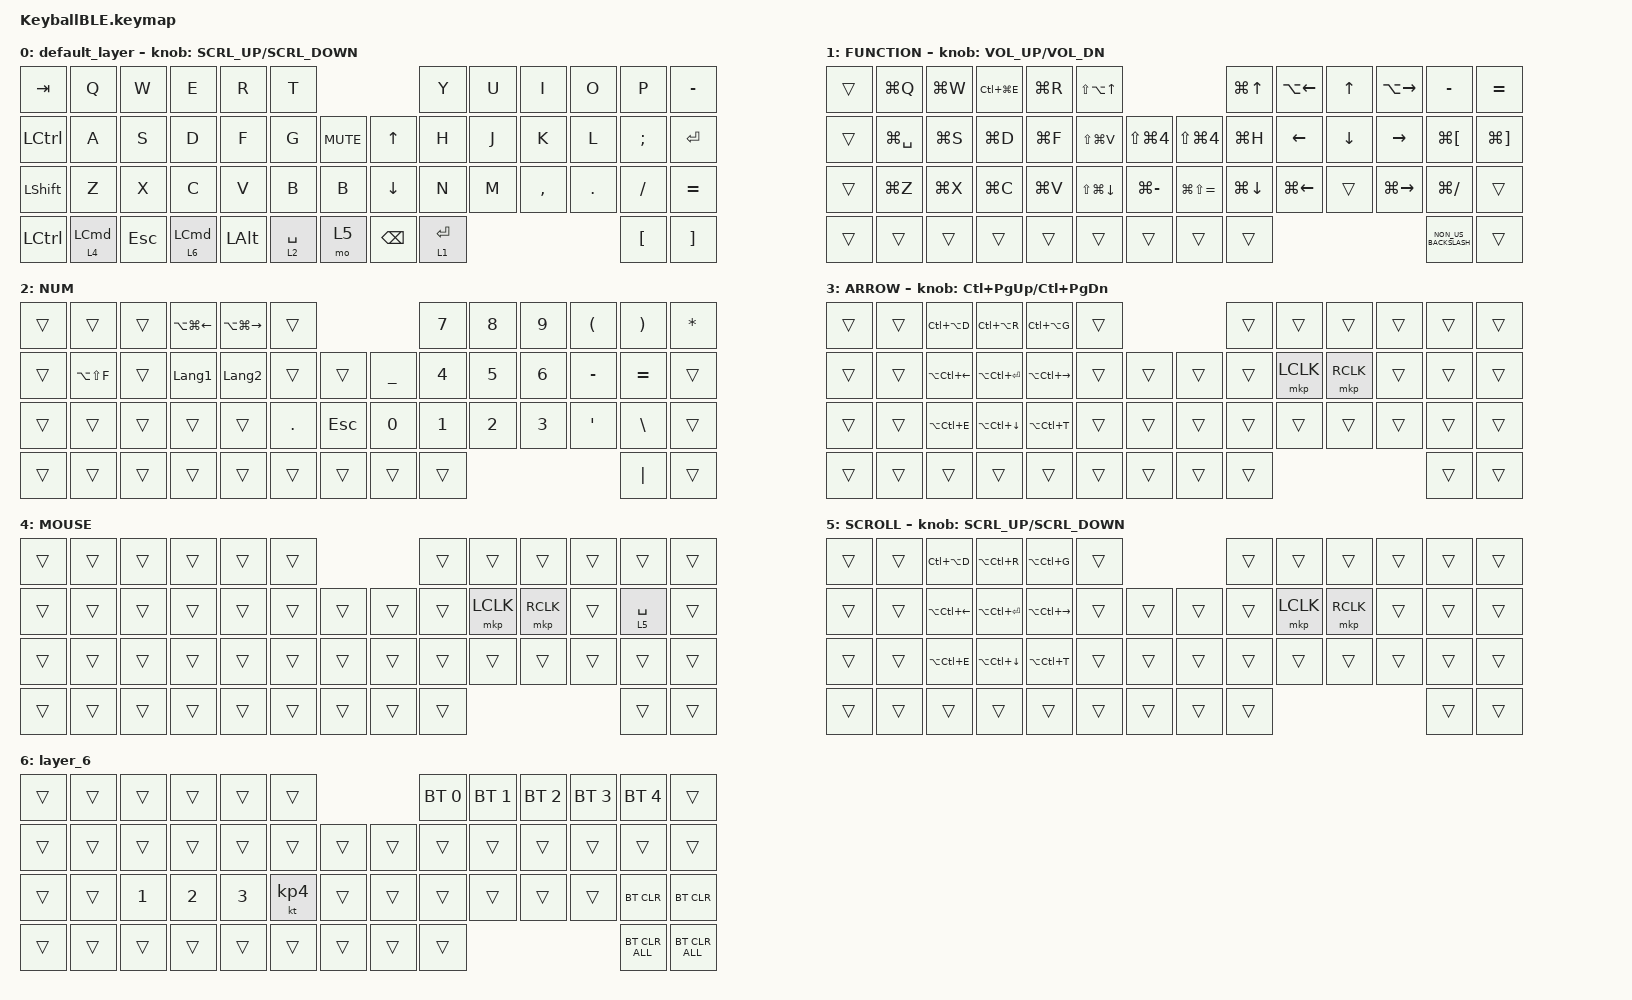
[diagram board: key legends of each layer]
#define ZMK_POINTING_DEFAULT_SCRL_VAL 120    // default: 10

#include <behaviors.dtsi>
#include <dt-bindings/zmk/bt.h>
#include <dt-bindings/zmk/keys.h>
#include <dt-bindings/zmk/pointing.h>

#define MOUSE 4
#define SCROLL 5
#define NUM 6

&mt {
    flavor = "balanced";
    quick-tap-ms = <0>;
};

/ {
    combos {
        compatible = "zmk,combos";

        double_quotation {
            bindings = <&kp DOUBLE_QUOTES>;
            key-positions = <20 21>;
        };
    };

    macros {
        to_layer_0: to_layer_0 {
            compatible = "zmk,behavior-macro-one-param";
            #binding-cells = <1>;
            bindings = <&to 0 &macro_param_1to1 &kp MACRO_PLACEHOLDER>;
            label = "TO_LAYER_0";
        };
    };

    behaviors {
        lt_to_layer_0: lt_to_layer_0 {
            compatible = "zmk,behavior-hold-tap";
            label = "LAYER_TAP_TO_0";
            bindings = <&mo>, <&to_layer_0>;

            #binding-cells = <2>;
            tapping-term-ms = <200>;
        };

        ROTATE: ROTATE {
            compatible = "zmk,behavior-sensor-rotate-var";
            label = "ROTATE";
            #sensor-binding-cells = <2>;
            bindings = <&msc>, <&msc>;

            tap-ms = <20>;
        };
    };

    keymap {
        compatible = "zmk,keymap";

        default_layer {
            bindings = <
&kp TAB           &kp Q               &kp W       &kp E               &kp R         &kp T                                      &kp Y        &kp U  &kp I      &kp O    &kp P             &kp MINUS
&kp LEFT_CONTROL  &kp A               &kp S       &kp D               &kp F         &kp G        &kp C_MUTE    &kp UP_ARROW    &kp H        &kp J  &kp K      &kp L    &kp SEMICOLON     &kp ENTER
&kp LSHFT         &kp Z               &kp X       &kp C               &kp V         &kp B        &kp B         &kp DOWN_ARROW  &kp N        &kp M  &kp COMMA  &kp DOT  &kp FSLH          &kp EQUAL
&kp LCTRL         &lt 4 LEFT_COMMAND  &kp ESCAPE  &lt 6 LEFT_COMMAND  &kp LEFT_ALT  &lt 2 SPACE  &mo 5         &kp BACKSPACE   &lt 1 ENTER                             &kp LEFT_BRACKET  &kp RIGHT_BRACKET
            >;

            sensor-bindings = <&ROTATE SCRL_UP SCRL_DOWN>;
        };

        FUNCTION {
            bindings = <
&trans  &kp LG(Q)      &kp LG(W)  &kp LC(LG(E))  &kp LG(R)  &kp LS(LA(UP_ARROW))                                                  &kp LG(UP_ARROW)    &kp LA(LEFT_ARROW)  &kp UP_ARROW    &kp LA(RIGHT_ARROW)  &kp MINUS             &kp EQUAL
&trans  &kp LG(SPACE)  &kp LG(S)  &kp LG(D)      &kp LG(F)  &kp LS(LG(V))           &kp LS(LG(NUMBER_4))    &kp LS(LG(NUMBER_4))  &kp LG(H)           &kp LEFT_ARROW      &kp DOWN_ARROW  &kp RIGHT_ARROW      &kp LG(LEFT_BRACKET)  &kp LG(RIGHT_BRACKET)
&trans  &kp LG(Z)      &kp LG(X)  &kp LG(C)      &kp LG(V)  &kp LS(LG(DOWN_ARROW))  &kp LG(MINUS)           &kp LG(LS(EQUAL))     &kp LG(DOWN_ARROW)  &kp LG(LEFT_ARROW)  &trans          &kp LG(RIGHT_ARROW)  &kp LG(SLASH)         &trans
&trans  &trans         &trans     &trans         &trans     &trans                  &trans                  &trans                &trans                                                                       &kp NON_US_BACKSLASH  &trans
            >;

            sensor-bindings = <&inc_dec_kp C_VOLUME_UP C_VOL_DN>;
        };

        NUM {
            bindings = <
&trans  &trans         &trans  &kp LA(LG(LEFT_ARROW))  &kp LA(LG(RIGHT_ARROW))  &trans                                    &kp NUMBER_7  &kp NUMBER_8  &kp NUMBER_9  &kp LEFT_PARENTHESIS  &kp RIGHT_PARENTHESIS  &kp ASTERISK
&trans  &kp LA(LS(F))  &trans  &kp LANGUAGE_1          &kp LANGUAGE_2           &trans      &trans        &kp UNDERSCORE  &kp NUMBER_4  &kp NUMBER_5  &kp NUMBER_6  &kp MINUS             &kp EQUAL              &trans
&trans  &trans         &trans  &trans                  &trans                   &kp PERIOD  &kp ESCAPE    &kp NUMBER_0    &kp NUMBER_1  &kp NUMBER_2  &kp NUMBER_3  &kp SINGLE_QUOTE      &kp BACKSLASH          &trans
&trans  &trans         &trans  &trans                  &trans                   &trans      &trans        &trans          &trans                                                          &kp PIPE               &trans
            >;
        };

        ARROW {
            bindings = <
&trans  &trans  &kp LC(LA(D))           &kp LC(LA(R))           &kp LC(LA(G))            &trans                    &trans  &trans     &trans     &trans  &trans  &trans
&trans  &trans  &kp LA(LC(LEFT_ARROW))  &kp LA(LC(ENTER))       &kp LA(LC(RIGHT_ARROW))  &trans  &trans    &trans  &trans  &mkp LCLK  &mkp RCLK  &trans  &trans  &trans
&trans  &trans  &kp LA(LC(E))           &kp LA(LC(DOWN_ARROW))  &kp LA(LC(T))            &trans  &trans    &trans  &trans  &trans     &trans     &trans  &trans  &trans
&trans  &trans  &trans                  &trans                  &trans                   &trans  &trans    &trans  &trans                                &trans  &trans
            >;

            sensor-bindings = <&inc_dec_kp LC(PAGE_UP) LC(PAGE_DOWN)>;
        };

        MOUSE {
            bindings = <
&trans  &trans  &trans  &trans  &trans  &trans                    &trans  &trans     &trans     &trans  &trans       &trans
&trans  &trans  &trans  &trans  &trans  &trans  &trans    &trans  &trans  &mkp LCLK  &mkp RCLK  &trans  &lt 5 SPACE  &trans
&trans  &trans  &trans  &trans  &trans  &trans  &trans    &trans  &trans  &trans     &trans     &trans  &trans       &trans
&trans  &trans  &trans  &trans  &trans  &trans  &trans    &trans  &trans                                &trans       &trans
            >;
        };

        SCROLL {
            bindings = <
&trans  &trans  &kp LC(LA(D))           &kp LA(LC(R))           &kp LA(LC(G))            &trans                    &trans  &trans     &trans     &trans  &trans  &trans
&trans  &trans  &kp LA(LC(LEFT_ARROW))  &kp LA(LC(ENTER))       &kp LA(LC(RIGHT_ARROW))  &trans  &trans    &trans  &trans  &mkp LCLK  &mkp RCLK  &trans  &trans  &trans
&trans  &trans  &kp LA(LC(E))           &kp LA(LC(DOWN_ARROW))  &kp LA(LC(T))            &trans  &trans    &trans  &trans  &trans     &trans     &trans  &trans  &trans
&trans  &trans  &trans                  &trans                  &trans                   &trans  &trans    &trans  &trans                                &trans  &trans
            >;

            sensor-bindings = <&ROTATE SCRL_UP SCRL_DOWN>;
        };

        layer_6 {
            bindings = <
&trans  &trans  &trans        &trans        &trans        &trans                       &bt BT_SEL 0  &bt BT_SEL 1  &bt BT_SEL 2  &bt BT_SEL 3  &bt BT_SEL 4    &trans
&trans  &trans  &trans        &trans        &trans        &trans     &trans    &trans  &trans        &trans        &trans        &trans        &trans          &trans
&trans  &trans  &kp NUMBER_1  &kp NUMBER_2  &kp NUMBER_3  &kt KP_N4  &trans    &trans  &trans        &trans        &trans        &trans        &bt BT_CLR      &bt BT_CLR
&trans  &trans  &trans        &trans        &trans        &trans     &trans    &trans  &trans                                                  &bt BT_CLR_ALL  &bt BT_CLR_ALL
            >;
        };
    };
};
